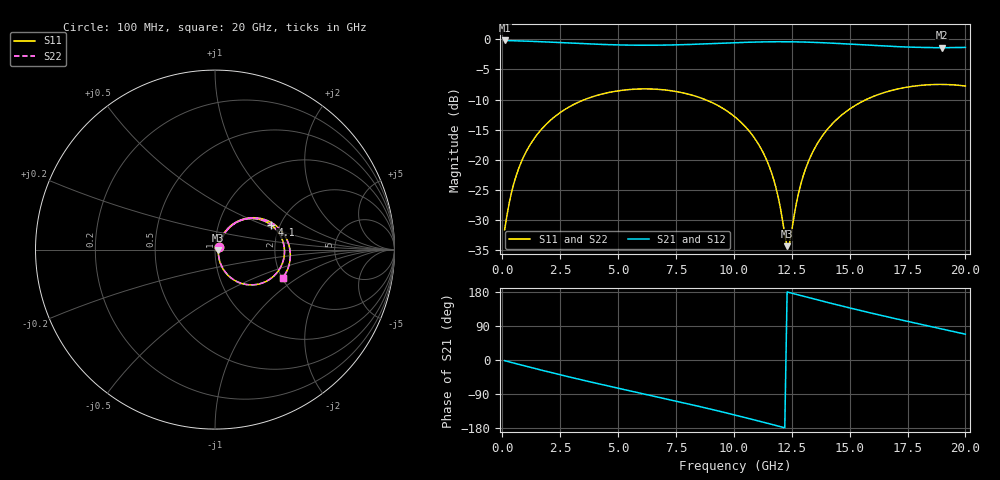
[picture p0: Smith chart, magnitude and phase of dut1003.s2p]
! Touchstone file exported from HFSS 2026.1.0
!  File:  C:/ffzhzh/LocalFiles/Ansys_Project_Files/temp_train_TSV_RDL_1003_1783290280_38820.aedt
!  Generated:  06:35:22 AM Jul  6, 2026
!  Design:  TSV_RDL
!  Project:  temp_train_TSV_RDL_1003_1783290280_38820
! Variables:
!  h_bsmrdl = 2.24um
!  h_ox = 20um
!  h_rdl = 5um
!  h_sub = 95.02um
!  h_tmrdl = 5.08um
!  h_tsv = 95.02um
!  h_via = 3um
!  l_bsmrdl = 903.5um
!  l_sub = 4620.13um
!  l_tmrdl = 338.67um
!  m_sub = 200um
!  pitch = 45.89um
!  r_tsv = 14.53um
!  s_tmrdl = 10um
!  w_bsmrdl = 22.32um
!  w_sub = 500um
!  w_tmrdl = 29.33um
!  x_tsv_center1 = 353.335um
!  x_tsv_center2 = 1279.155um
!  x_tsv_center3 = 1647.155um
!  x_tsv_center4 = 2572.975um
!  x_tsv_center5 = 2940.975um
!  x_tsv_center6 = 3866.795um
# GHz S MA R 50.000000
! Terminal data exported
! Port[1] = TM_RDL1_1_T1
! Port[2] = TM_RDL5_1_T1
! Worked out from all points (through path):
!   200 points, 100 MHz to 20 GHz, reference 50 ohm
!   highest |S21| = -0.20 dB at 100 MHz (marker M1); lowest = -1.4 dB at 19 GHz (marker M2)
!   group delay of S21, straight-line fit = 40.7 ps
!   lowest |S11| = -34.3 dB at 12.3 GHz (marker M3), VSWR 1.04, Z = 51.9 - j0.515 ohm
!   |S11| at or under -10 dB: start of sweep to 3.558 GHz; 8.756 GHz to 15.72 GHz (6.96 GHz wide, 56.9 % of centre)
!   |S22| runs from -33.9 to -7.5 dB; largest |S21 - S12| = 3.2e-14
!   S11 on the Smith chart (normalised r, x): 100 MHz: 1.05, +0.03; 4.1 GHz: 1.81, +0.56; 20 GHz: 2.03, -0.76
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0.1  0.02631 27.1  0.9769 -1.7  0.9769 -1.7  0.02631 27.1
! Gamma 0 0 0 0
! Port Impedance 50 0 50 0
0.5  0.06393 57.1  0.9716 -8.2  0.9716 -8.2  0.06393 57.1
1.2  0.1333 57.9  0.9616 -19.2  0.9616 -19.2  0.1333 57.9
2.2  0.2229 47.7  0.9439 -34.4  0.9439 -34.4  0.2229 47.7
3.5  0.313 31.2  0.9186 -53.5  0.9186 -53.5  0.313 31.2
4.1  0.3429 23.4  0.9085 -62.0  0.9085 -62.0  0.3429 23.4
5.4  0.3814 6.7  0.8939 -79.8  0.8939 -79.8  0.3814 6.7
6.8  0.3834 -11.3  0.8929 -98.8  0.8929 -98.8  0.3833 -11.2
8.5  0.3298 -33.5  0.9108 -122.5  0.9108 -122.5  0.3298 -33.4
10.1  0.2227 -54.7  0.9366 -146.0  0.9366 -146.0  0.2227 -54.5
10.9  0.1508 -64.3  0.9472 -158.3  0.9472 -158.3  0.1509 -64.0
11.5  0.09124 -68.7  0.9521 -167.8  0.9521 -167.8  0.09139 -68.2
11.9  0.0507 -65.0  0.9534 -174.1  0.9534 -174.1  0.05102 -64.0
12.3  0.01926 -14.9  0.953 179.5  0.953 179.5  0.02019 -14.2
12.4  0.02006 15.5  0.9526 177.9  0.9526 177.9  0.02098 14.7
12.7  0.04365 55.2  0.9508 173.1  0.9508 173.1  0.04412 54.1
12.9  0.06377 60.5  0.9491 170.0  0.9491 170.0  0.06411 59.7
13.4  0.1154 60.6  0.943 162.1  0.943 162.1  0.1156 60.1
14.7  0.239 46.0  0.918 142.0  0.918 142.0  0.2392 45.8
16.7  0.3712 19.7  0.8741 113.0  0.8741 113.0  0.3713 19.5
19  0.422 -9.7  0.8515 81.7  0.8515 81.7  0.422 -9.8
20  0.4093 -22.3  0.8559 68.1  0.8559 68.1  0.4093 -22.4
